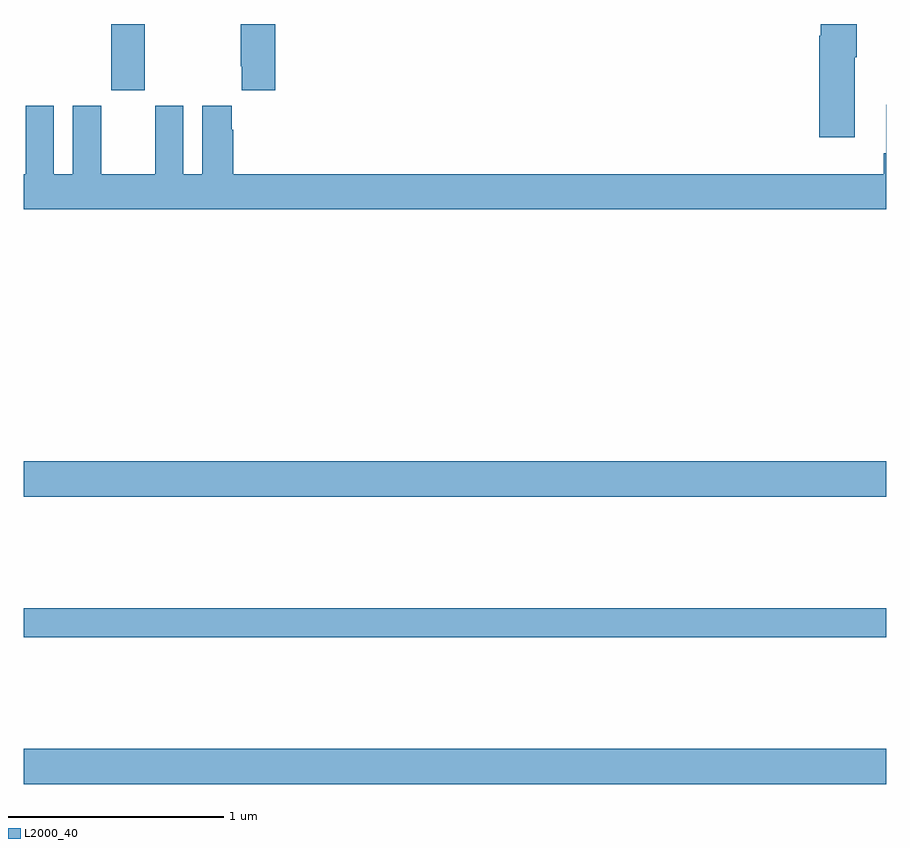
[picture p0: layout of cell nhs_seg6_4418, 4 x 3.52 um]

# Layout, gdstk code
import gdstk
lib = gdstk.Library(unit=1e-6, precision=1e-09)
def R(c, l, rs):  # rectangles x0, y0, x1, y1
    for r in rs: c.add(gdstk.rectangle(r[:2], r[2:], *l))
def P(c, l, *ps):  # polygons
    for p in ps: c.add(gdstk.Polygon(p, *l))
L2000_40 = (2000, 40)

nhs_seg6_4418 = lib.new_cell('nhs_seg6_4418')
R(nhs_seg6_4418, L2000_40, [(371,973.976,375,974.14), (371,974.656,375,974.792), (371,975.308,375,975.472), (371.407,977.193,371.562,977.5)])
P(nhs_seg6_4418, L2000_40, [(372.167,977.5),(372.007,977.5),(372.007,977.305),(372.011,977.305),(372.011,977.193),(372.167,977.193)],
  [(374.854,977.345),(374.862,977.345),(374.862,977.5),(374.696,977.5),(374.696,977.445),(374.69,977.445),(374.69,976.974),(374.854,976.974)],
  [(375,977.125),(374.999,977.125),(374.999,976.9),(374.987,976.9),(374.987,976.804),(371.972,976.804),(371.972,977.009),(371.965,977.009),(371.965,977.122),(371.828,977.122),(371.828,976.804),(371.74,976.804),(371.74,977.122),(371.609,977.122),(371.609,976.804),(371.359,976.804),(371.359,977.122),(371.228,977.122),(371.228,976.804),(371.14,976.804),(371.14,977.122),(371.009,977.122),(371.009,976.804),(371,976.804),(371,976.64),(375,976.64)])

lib.write_gds('nhs_seg6_4418.gds')
